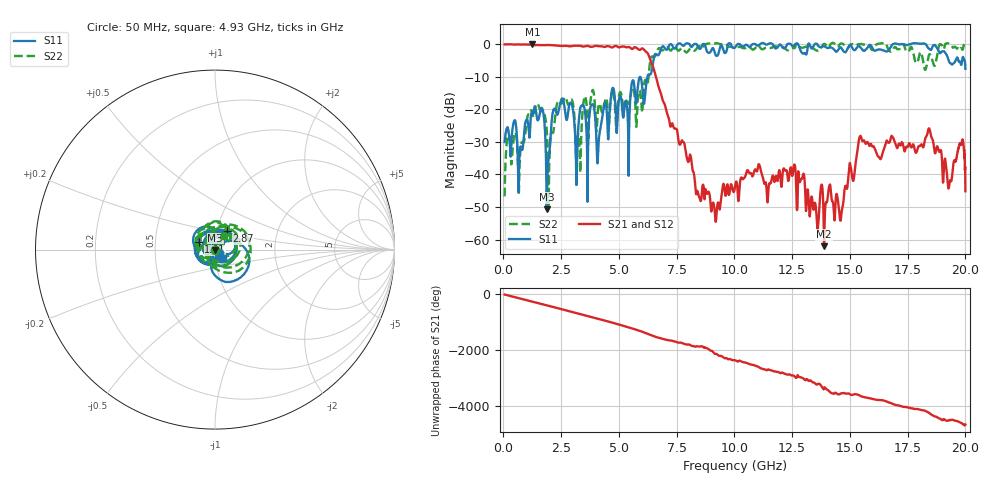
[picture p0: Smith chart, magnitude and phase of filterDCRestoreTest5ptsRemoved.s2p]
!  .\\filter.s2p
!  written by LeCroy Virtual Probe(tm)
!  freq S11 S21
!  S12 S22
# MHz S MA R 50.0
! 0.0 0.024586 0.0 0.987965 0.0 0.987965 0.0 0.002235 180.0
! 10.0 0.024957 -7.166088 0.987666 -2.182311 0.987666 -2.182311 0.001868 179.333277
! 20.0 0.025838 -14.658335 0.987157 -4.349216 0.987157 -4.349216 0.001191 -166.861735
! 30.0 0.02727 -22.27163 0.986367 -6.506003 0.986367 -6.506003 0.00094 -91.989802
! 40.0 0.029142 -30.216415 0.985475 -8.643014 0.985475 -8.643014 0.002463 -61.834656
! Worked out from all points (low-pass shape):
!   1996 points, 50 MHz to 20 GHz, reference 50 ohm
!   highest |S21| = -0.06 dB at 1.25 GHz (marker M1); lowest = -62.0 dB at 13.88 GHz (marker M2)
!   |S21| within 3 dB of the highest: start of sweep to 6.259 GHz
!   lowest |S11| = -50.7 dB at 1.87 GHz (marker M3), VSWR 1.01, Z = 50.1 - j0.252 ohm
!   |S11| at or under -10 dB: start of sweep to 6.237 GHz
!   |S22| runs from -49.4 to 1.1 dB; largest |S21 - S12| = 0
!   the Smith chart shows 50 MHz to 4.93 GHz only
!   S11 on the Smith chart (normalised r, x): 50 MHz: 1.05, -0.04; 1.61 GHz: 0.83, +0.07; 2.87 GHz: 1.11, +0.23; 4.93 GHz: 1.09, -0.10
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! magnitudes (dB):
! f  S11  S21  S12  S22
! 50 MHz  -30.1  -0.1  -0.1  -46.7
! 210 MHz  -26.4  -0.1  -0.1  -27.9
! 710 MHz  -32.5  -0.2  -0.2  -35.4
! 1.25 GHz  -21.2  -0.1  -0.1  -21.1
! 1.61 GHz  -20.1  -0.4  -0.4  -20.6
! 1.87 GHz  -50.7  -0.3  -0.3  -26.1
! 2.18 GHz  -20.0  -0.4  -0.4  -26.1
! 2.87 GHz  -18.3  -0.8  -0.8  -18.0
! 3.16 GHz  -43.2  -0.6  -0.6  -36.2
! 3.38 GHz  -18.9  -0.7  -0.7  -26.1
! 4.1 GHz  -32.9  -0.7  -0.7  -19.8
! 4.93 GHz  -23.7  -0.8  -0.8  -20.9
! 6.7 GHz  -3.5  -12.7  -12.7  -1.5
! 8.48 GHz  -1.4  -47.0  -47.0  -0.7
! 10.03 GHz  -1.0  -43.4  -43.4  -1.0
! 12.54 GHz  -0.6  -38.9  -38.9  -1.3
! 13.35 GHz  -1.4  -46.9  -46.9  -1.1
! 13.88 GHz  -0.7  -62.0  -62.0  0.0
! 14.62 GHz  -1.2  -52.9  -52.9  0.1
! 15.45 GHz  -1.0  -28.2  -28.2  0.0
! 16.68 GHz  -2.0  -30.3  -30.3  -1.8
! 20 GHz  -7.6  -45.1  -45.1  1.1
